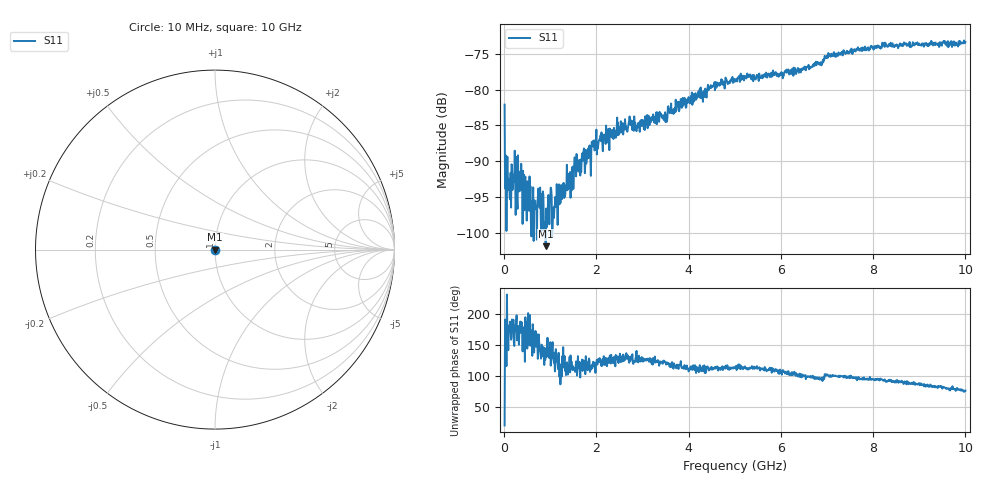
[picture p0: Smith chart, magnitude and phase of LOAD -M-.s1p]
!Keysight Technologies,N5242A,MY53222596,A.10.47.06
!Date: Thursday, November 09, 2017 12:01:29
!Correction: S11(Full 2 Port(1,3))
!S1P File: Measurement: S11:
# Hz S  dB  R 50
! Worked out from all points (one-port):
!   1000 points, 10 MHz to 10 GHz, reference 50 ohm
!   lowest |S11| = -101.9 dB at 900 MHz (marker M1), VSWR 1.00, Z = 50 + j0.000572 ohm
!   |S11| at or under -10 dB: start of sweep to end of sweep
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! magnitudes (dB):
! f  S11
! 10 MHz  -82.1
! 900 MHz  -101.9
! 1.26 GHz  -93.8
! 2.51 GHz  -85.6
! 3.76 GHz  -82.3
! 4.35 GHz  -81.0
! 4.57 GHz  -80.1
! 5.01 GHz  -78.9
! 5.08 GHz  -78.2
! 5.29 GHz  -78.0
! 5.55 GHz  -78.3
! 5.84 GHz  -78.0
! 6.01 GHz  -77.6
! 6.12 GHz  -77.2
! 6.22 GHz  -77.8
! 6.26 GHz  -77.6
! 6.66 GHz  -76.8
! 6.77 GHz  -76.6
! 6.87 GHz  -76.4
! 7.04 GHz  -75.3
! 7.51 GHz  -74.4
! 8.13 GHz  -74.1
! 8.25 GHz  -74.0
! 8.76 GHz  -73.8
! 9.41 GHz  -73.6
! 9.51 GHz  -73.4
! 9.79 GHz  -73.4
! 10 GHz  -73.4
